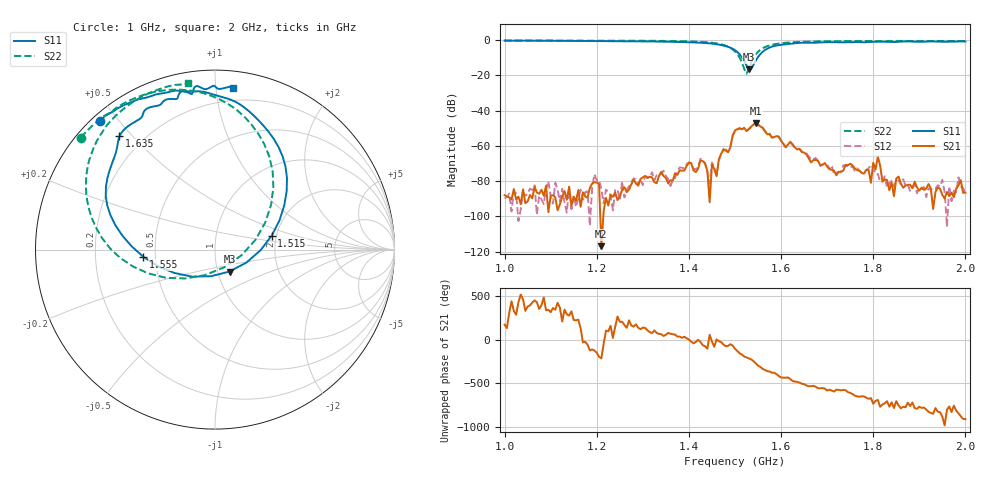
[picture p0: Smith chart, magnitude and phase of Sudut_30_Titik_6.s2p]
# Hz S RI R 50
! CMT, C1220, 16058040, 17.2.0/1
! Date: 14/08/2018 12:20:11
! Data: Format (Calibration Info)
! Freq  S11: Re/Im (F2)  S21: Re/Im (F2)  S12: Re/Im (F2)  S22: Re/Im (F2)
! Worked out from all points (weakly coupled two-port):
!   201 points, 1 GHz to 2 GHz, reference 50 ohm
!   highest |S21| = -47.15 dB at 1.545 GHz (marker M1); lowest = -116.9 dB at 1.21 GHz (marker M2)
!   lowest |S11| = -16.7 dB at 1.53 GHz (marker M3), VSWR 1.34, Z = 56.9 - j14.2 ohm
!   |S11| at or under -10 dB: 1.516 GHz to 1.549 GHz (33.4 MHz wide, 2.18 % of centre)
!   |S22| runs from -19.1 to -0.2 dB; largest |S21 - S12| = 0.00038
!   S11 on the Smith chart (normalised r, x): 1 GHz: 0.02, +0.45; 1.515 GHz: 1.89, +0.33; 1.555 GHz: 0.43, -0.04; 1.635 GHz: 0.12, +0.46; 2 GHz: 0.11, +1.11
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1e9  -0.6434 0.716  -3.91e-05 7.31e-06  8.61e-06 -3.05e-05  -0.7481 0.6241
1.17e9  -0.4634 0.8231  4.09e-05 -2.54e-05  -2.71e-05 -1.2e-05  -0.6114 0.7484
1.21e9  -0.4113 0.8406  -1.18e-06 7.99e-07  -2.97e-05 5.16e-05  -0.5736 0.7658
1.335e9  -0.1946 0.884  6.11e-05 0.000126  5.96e-05 0.000127  -0.3965 0.8622
1.425e9  0.0884 0.8348  0.00035 -0.000172  0.000359 -0.000237  -0.1156 0.8826
1.445e9  0.1669 0.7891  1.5e-05 2.01e-05  6.71e-05 5.11e-05  -0.00672 0.8515
1.45e9  0.1885 0.7714  0.000272 -0.000121  0.00031 -0.000127  0.0253 0.8372
1.46e9  0.24 0.7229  0.000137 4.45e-06  0.000151 1.61e-05  0.0939 0.7975
1.5e9  0.3993 0.3254  -0.000706 -0.00263  -0.000687 -0.00247  0.3252 0.3476
1.515e9  0.3162 0.0781  -0.00291 -0.000472  -0.00289 -0.000505  0.2256 0.0545
1.53e9  0.0808 -0.122  -0.00246 0.0017  -0.00242 0.00168  -0.0546 -0.1417
1.545e9  -0.2263 -0.1301  -4.91e-05 0.00439  -0.000185 0.0043  -0.3724 -0.1323
1.555e9  -0.3985 -0.0407  0.00236 0.00265  0.00227 0.0028  -0.5266 -0.0477
1.635e9  -0.5321 0.631  -0.000407 -0.000672  -0.000434 -0.000706  -0.6776 0.5633
1.67e9  -0.4195 0.7278  -0.000381 -9.53e-05  -0.00041 -5.51e-05  -0.6181 0.6704
1.715e9  -0.341 0.7978  -0.000121 0.000155  -0.000111 0.00011  -0.5441 0.7548
1.75e9  -0.2799 0.8323  -0.00012 0.000288  -6e-05 0.000233  -0.4906 0.7994
1.795e9  -0.2031 0.8603  5.38e-05 7.12e-05  0.000217 0.000191  -0.4255 0.8412
1.81e9  -0.1844 0.8819  0.000418 0.000273  0.000158 3e-06  -0.4049 0.8535
1.82e9  -0.1633 0.8801  9.31e-05 -3.32e-05  9.5e-05 1.16e-05  -0.3911 0.8599
1.835e9  -0.1339 0.8675  3.99e-05 -3.77e-05  7.54e-05 -4.44e-05  -0.3713 0.8697
2e9  0.0991 0.9029  -4.66e-05 4.05e-06  -4.59e-05 -6.43e-06  -0.149 0.9277
